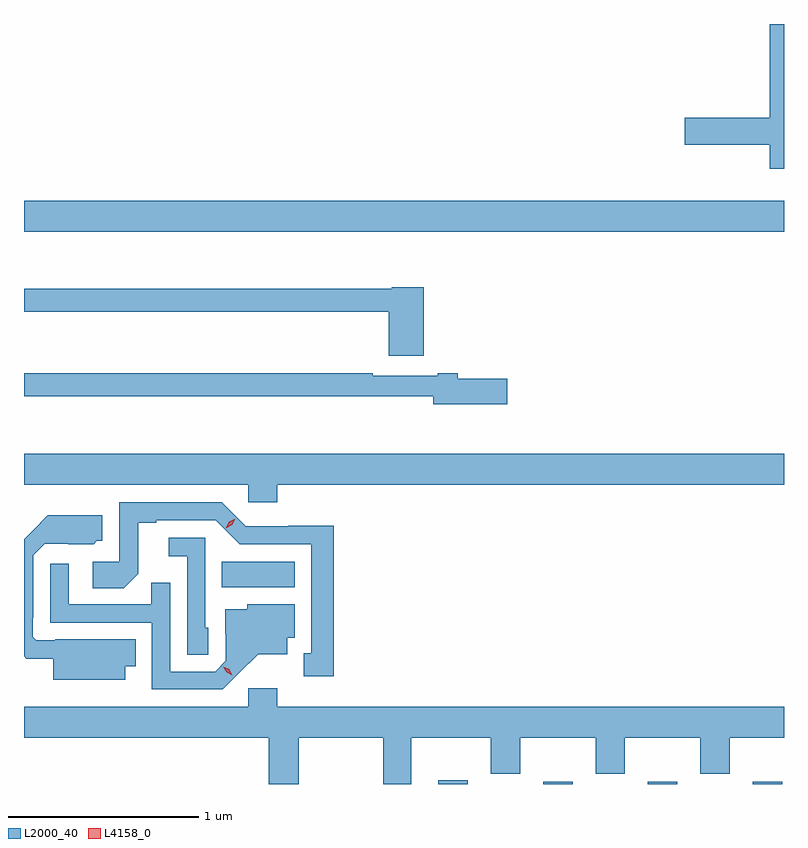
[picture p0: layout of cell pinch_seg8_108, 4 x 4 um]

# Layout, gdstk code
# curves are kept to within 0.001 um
import gdstk
lib = gdstk.Library(unit=1e-6, precision=1e-09)
def R(c, l, rs):  # rectangles x0, y0, x1, y1
    for r in rs: c.add(gdstk.rectangle(r[:2], r[2:], *l))
def A(c, l, x, y, w, h, nx, ny, dx, dy):  # array of equal rectangles
    R(c, l, [(x+i*dx, y+j*dy, x+i*dx+w, y+j*dy+h) for i in range(nx) for j in range(ny)])
def P(c, l, *ps):  # polygons
    for p in ps: c.add(gdstk.Polygon(p, *l))
L2000_40 = (2000, 40)
L4158_0 = (4158, 0)

pinch_seg8_108 = lib.new_cell('pinch_seg8_108')
A(pinch_seg8_108, L2000_40, 1035.274, 1089.617, 0.155, 0.011, 3, 1, 0.552, 0)
R(pinch_seg8_108, L2000_40, [(1034.721,1089.617,1034.877,1089.637), (1033.582,1090.652,1033.966,1090.786), (1032.542,1092.524,1036.542,1092.688)])
P(pinch_seg8_108, L2000_40, [(1036.542,1093.617),(1036.468,1093.617),(1036.468,1093.124),(1036.02,1093.124),(1036.02,1092.982),(1036.468,1092.982),(1036.468,1092.854),(1036.542,1092.854)],
  [(1034.645,1092.231),(1034.478,1092.231),(1034.478,1092.223),(1032.542,1092.223),(1032.542,1092.102),(1034.462,1092.102),(1034.462,1091.871),(1034.645,1091.871)],
  [(1035.085,1091.75),(1034.824,1091.75),(1034.824,1091.779),(1034.72,1091.779),(1034.72,1091.766),(1034.378,1091.766),(1034.378,1091.779),(1032.542,1091.779),(1032.542,1091.658),(1034.696,1091.658),(1034.696,1091.615),(1035.085,1091.615)],
  [(1032.542,1091.192),(1033.722,1091.192),(1033.722,1091.099),(1033.874,1091.099),(1033.874,1091.192),(1036.542,1091.192),(1036.542,1091.356),(1032.542,1091.356)],
  [(1034.173,1090.976),(1033.932,1090.976),(1033.932,1090.974),(1033.71,1090.974),(1033.584,1091.1),(1033.044,1091.1),(1033.044,1090.788),(1032.903,1090.788),(1032.903,1090.648),(1033.067,1090.648),(1033.143,1090.724),(1033.143,1090.992),(1033.237,1090.992),(1033.237,1091.004),(1033.551,1091.004),(1033.677,1090.878),(1034.054,1090.878),(1034.054,1090.305),(1034.015,1090.305),(1034.015,1090.185),(1034.173,1090.185)],
  [(1033.075,1090.238),(1033.13,1090.238),(1033.13,1090.378),(1032.706,1090.378),(1032.706,1090.374),(1032.606,1090.374),(1032.588,1090.392),(1032.588,1090.492),(1032.591,1090.492),(1032.591,1090.821),(1032.651,1090.881),(1032.908,1090.88),(1032.924,1090.896),(1032.955,1090.896),(1032.955,1091.032),(1032.667,1091.032),(1032.542,1090.906),(1032.542,1090.289),(1032.554,1090.277),(1032.695,1090.277),(1032.695,1090.166),(1033.075,1090.166)],
  [(1033.512,1090.44),(1033.497,1090.44),(1033.497,1090.914),(1033.305,1090.914),(1033.305,1090.817),(1033.401,1090.817),(1033.401,1090.297),(1033.512,1090.297)],
  [(1033.672,1090.199),(1033.775,1090.301),(1033.927,1090.301),(1033.927,1090.388),(1033.966,1090.388),(1033.966,1090.564),(1033.716,1090.564),(1033.716,1090.537),(1033.601,1090.537),(1033.601,1090.408),(1033.605,1090.408),(1033.605,1090.266),(1033.548,1090.209),(1033.311,1090.209),(1033.311,1090.676),(1033.213,1090.676),(1033.213,1090.563),(1032.777,1090.563),(1032.777,1090.777),(1032.681,1090.777),(1032.681,1090.467),(1033.215,1090.467),(1033.215,1090.116),(1033.588,1090.116)],
  [(1033.989,1089.86),(1034.434,1089.86),(1034.434,1089.617),(1034.581,1089.617),(1034.581,1089.86),(1034.998,1089.86),(1034.998,1089.67),(1035.153,1089.67),(1035.153,1089.86),(1035.55,1089.86),(1035.55,1089.67),(1035.705,1089.67),(1035.705,1089.86),(1036.102,1089.86),(1036.102,1089.67),(1036.257,1089.67),(1036.257,1089.86),(1036.542,1089.86),(1036.542,1090.024),(1033.874,1090.024),(1033.874,1090.12),(1033.722,1090.12),(1033.722,1090.024),(1032.542,1090.024),(1032.542,1089.86),(1033.829,1089.86),(1033.829,1089.617),(1033.989,1089.617)])
P(pinch_seg8_108, L4158_0, [(1033.605,1090.964),(1033.605,1090.964),(1033.623,1090.996),(1033.655,1091.014),(1033.655,1091.014),(1033.655,1091.014),(1033.637,1090.982),(1033.605,1090.964)],
  [(1033.638,1090.19),(1033.608,1090.205),(1033.59,1090.234),(1033.59,1090.235),(1033.591,1090.235),(1033.621,1090.22),(1033.638,1090.19),(1033.638,1090.19)])

lib.write_gds('pinch_seg8_108.gds')
